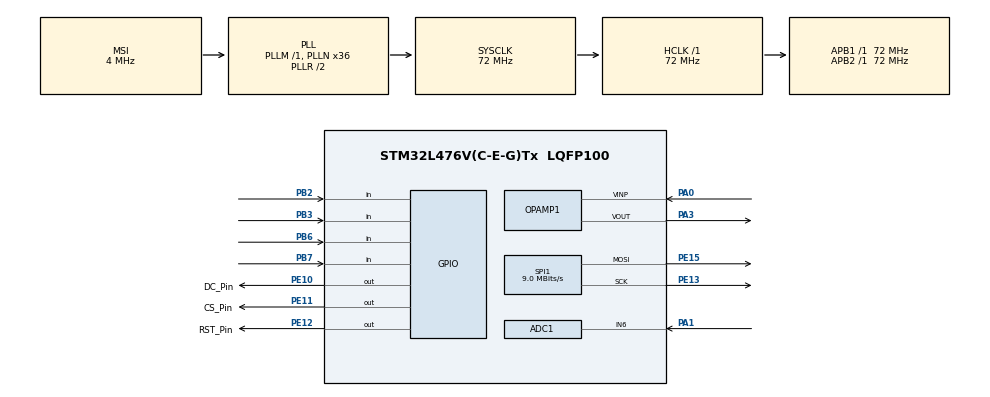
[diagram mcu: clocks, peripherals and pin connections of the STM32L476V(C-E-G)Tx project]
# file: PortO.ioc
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ADC1.Channel-5\#ChannelRegularConversion=ADC_CHANNEL_6
ADC1.ClockPrescaler=ADC_CLOCK_ASYNC_DIV8
ADC1.ContinuousConvMode=ENABLE
ADC1.EOCSelection=ADC_EOC_SEQ_CONV
ADC1.EnableRegularConversion=ENABLE
ADC1.NbrOfConversionFlag=1
ADC1.OffsetNumber-5\#ChannelRegularConversion=ADC_OFFSET_NONE
ADC1.Overrun=ADC_OVR_DATA_OVERWRITTEN
ADC1.Rank-5\#ChannelRegularConversion=1
ADC1.SamplingTime-5\#ChannelRegularConversion=ADC_SAMPLETIME_2CYCLES_5
ADC1.master=1
Mcu.Family=STM32L4
Mcu.Name=STM32L476V(C-E-G)Tx
Mcu.Package=LQFP100
NVIC.PriorityGroup=NVIC_PRIORITYGROUP_4
OPAMP1.PowerSupplyRange=OPAMP_POWERSUPPLY_HIGH
PA0.Mode=PGA Not Connected
PA0.Signal=OPAMP1_VINP
PA1.Signal=ADCx_IN6
PA3.Mode=PGA Not Connected
PA3.Signal=OPAMP1_VOUT
PB2.GPIO_PuPd=GPIO_PULLUP
PB2.Signal=GPIO_Input
PB3\ (JTDO-TRACESWO).GPIO_PuPd=GPIO_PULLUP
PB3\ (JTDO-TRACESWO).Signal=GPIO_Input
PB6.GPIO_PuPd=GPIO_PULLUP
PB6.Signal=GPIO_Input
PB7.GPIO_PuPd=GPIO_PULLUP
PB7.Signal=GPIO_Input
PE10.GPIO_Label=DC_Pin
PE10.Signal=GPIO_Output
PE11.GPIO_Label=CS_Pin
PE11.Signal=GPIO_Output
PE12.GPIO_Label=RST_Pin
PE12.Signal=GPIO_Output
PE13.Mode=TX_Only_Simplex_Unidirect_Master
PE13.Signal=SPI1_SCK
PE14.Signal=SPI1_MISO
PE15.Mode=TX_Only_Simplex_Unidirect_Master
PE15.Signal=SPI1_MOSI
PH0-OSC_IN\ (PH0).Mode=HSE-External-Oscillator
PH0-OSC_IN\ (PH0).Signal=RCC_OSC_IN
PH1-OSC_OUT\ (PH1).Mode=HSE-External-Oscillator
PH1-OSC_OUT\ (PH1).Signal=RCC_OSC_OUT
ProjectManager.HeapSize=0x200
ProjectManager.StackSize=0x400
ProjectManager.TargetToolchain=MDK-ARM V5.27
RCC.ADCFreq_Value=48000000
RCC.AHBFreq_Value=72000000
RCC.APB1Freq_Value=72000000
RCC.APB1TimFreq_Value=72000000
RCC.APB2Freq_Value=72000000
RCC.APB2TimFreq_Value=72000000
RCC.CortexFreq_Value=72000000
RCC.HCLKFreq_Value=72000000
RCC.HSE_VALUE=8000000
RCC.HSI_VALUE=16000000
RCC.LSE_VALUE=32768
RCC.MSI_VALUE=4000000
RCC.PLLN=36
RCC.PLLSAI1N=24
RCC.PREFETCH_ENABLE=1
RCC.SYSCLKFreq_VALUE=72000000
RCC.SYSCLKSource=RCC_SYSCLKSOURCE_PLLCLK
RCC.USBFreq_Value=48000000
RCC.VCOOutputFreq_Value=144000000
SH.ADCx_IN6.0=ADC1_IN6,IN6-Single-Ended
SPI1.BaudRatePrescaler=SPI_BAUDRATEPRESCALER_8
SPI1.CalculateBaudRate=9.0 MBits/s
SPI1.DataSize=SPI_DATASIZE_8BIT
SPI1.Direction=SPI_DIRECTION_2LINES
SPI1.Mode=SPI_MODE_MASTER
SPI1.VirtualType=VM_MASTER
board=STM32L476G-DISCO

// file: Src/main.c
/* USER CODE BEGIN Header */
/**
  ******************************************************************************
  * @file           : main.c
  * @brief          : Main program body
  ******************************************************************************
  * @attention
  *
  * <h2><center>&copy; Copyright (c) 2020 STMicroelectronics.
  * All rights reserved.</center></h2>
  *
  * This software component is licensed by ST under BSD 3-Clause license,
  * the "License"; You may not use this file except in compliance with the
  * License. You may obtain a copy of the License at:
  *                        opensource.org/licenses/BSD-3-Clause
  *
  ******************************************************************************
  */
/* USER CODE END Header */

#include "main.h"

/* USER CODE BEGIN Includes */
#include "LCD.h"
#include "SPI.h"
#include <string.h>
#include <stdlib.h>
#include <stdio.h>

/* USER CODE END Includes */

ADC_HandleTypeDef hadc1;

OPAMP_HandleTypeDef hopamp1;

SPI_HandleTypeDef hspi1;

void SystemClock_Config(void);
static void MX_GPIO_Init(void);
static void MX_SPI1_Init(void);
static void MX_ADC1_Init(void);
static void MX_OPAMP1_Init(void);

/* USER CODE BEGIN 0 */
static uint16_t sample[480];
int scale = 0;
int amp = 0;
/* USER CODE END 0 */

int main(void)
{

  /* MCU Configuration--------------------------------------------------------*/

  /* Reset of all peripherals, Initializes the Flash interface and the Systick. */
  HAL_Init();

  /* Configure the system clock */
  SystemClock_Config();

  /* Initialize all configured peripherals */
  MX_GPIO_Init();
  MX_SPI1_Init();
  MX_ADC1_Init();
  MX_OPAMP1_Init();
  /* USER CODE BEGIN 2 */
	HAL_Delay(1000);
	HAL_OPAMP_MspInit(&hopamp1);
	HAL_OPAMP_SelfCalibrate(&hopamp1);
	HAL_OPAMP_Start(&hopamp1);
	HAL_SPI_MspInit(&hspi1);
	HAL_ADC_Start(&hadc1);

	LCD_Init();
	LCD_Set_Rotation(1);

	LCD_Fill_Screen(BLACK);
	LCD_Draw_Grid();

  /* USER CODE END 2 */

  /* Infinite loop */
  /* USER CODE BEGIN WHILE */
  while (1)
  {
		//scale sets the x-axis scale
		if(HAL_GPIO_ReadPin(GPIOB,GPIO_PIN_7)==GPIO_PIN_RESET)
		{
			if(scale == 0)
			{
				scale=1;
			}
			else
			{
				scale = 0;
			}
			while(HAL_GPIO_ReadPin(GPIOB,GPIO_PIN_7)==GPIO_PIN_RESET)
			{
				__NOP();
			};
		}

		//amp sets the amplification
		if(HAL_GPIO_ReadPin(GPIOB,GPIO_PIN_6)==GPIO_PIN_RESET)
		{
			if(amp == 0)
			{
				amp=1;
			}
			else
			{
				amp = 0;
			}
			while(HAL_GPIO_ReadPin(GPIOB,GPIO_PIN_6)==GPIO_PIN_RESET)
			{
				__NOP();
			};
		}

		if(HAL_GPIO_ReadPin(GPIOB,GPIO_PIN_2)==GPIO_PIN_RESET)
		{
		//fill sample block
			LCD_Fill_Screen(BLACK);
			LCD_Draw_Grid();

			for(uint16_t x = 0;x<479;x++)
			{
				if (HAL_ADC_PollForConversion(&hadc1, 100000) == HAL_OK)
				{
					 sample[x] = HAL_ADC_GetValue(&hadc1)*390/4096;
				}
			}

			if(amp==1)
			{
				for(uint16_t x = 0;x<479;x++)
				{
					sample[x] = sample[x]*5;
				}
			}

			//draw new samples on tft
			if(scale==0)
			{
				for(int x =0;x<478;x++)
				{
						LCD_Line(YELLOW,x,x+1,sample[x],sample[x+1]);
				}
			}
			if(scale==1)
			{
				int y = 0;
				for(int x=0;x<478;x+=6)
				{
					LCD_Line(YELLOW,x,x+6,sample[y],sample[y+1]);
					y+=1;
				}
			}
			while(HAL_GPIO_ReadPin(GPIOB,GPIO_PIN_2)==GPIO_PIN_RESET)
			{
				__NOP();
			};

		}

		//Display measurements screen when button pressed
		if(HAL_GPIO_ReadPin(GPIOB,GPIO_PIN_3)==GPIO_PIN_RESET)
		{
			LCD_Display_Measurements(sample,amp);
			uint16_t adcVal = 0;
				if (HAL_ADC_PollForConversion(&hadc1, 100000) == HAL_OK)
				{
					adcVal = HAL_ADC_GetValue(&hadc1);
				}
			char buf[6];
			LCD_Draw_String(0,220,GREEN,BLACK,"ADC 0x",2);
			snprintf(buf,5,"%u",adcVal);
			LCD_Draw_String(50,220,GREEN,BLACK,buf,2);
			while(HAL_GPIO_ReadPin(GPIOB,GPIO_PIN_3)==GPIO_PIN_RESET)
			{
				__NOP();
			};
		}

    /* USER CODE END WHILE */

  }
}

void SystemClock_Config(void)
{
  RCC_OscInitTypeDef RCC_OscInitStruct = {0};
  RCC_ClkInitTypeDef RCC_ClkInitStruct = {0};
  RCC_PeriphCLKInitTypeDef PeriphClkInit = {0};

  /** Initializes the CPU, AHB and APB busses clocks
  */
  RCC_OscInitStruct.OscillatorType = RCC_OSCILLATORTYPE_MSI;
  RCC_OscInitStruct.MSIState = RCC_MSI_ON;
  RCC_OscInitStruct.MSICalibrationValue = 0;
  RCC_OscInitStruct.MSIClockRange = RCC_MSIRANGE_6;
  RCC_OscInitStruct.PLL.PLLState = RCC_PLL_ON;
  RCC_OscInitStruct.PLL.PLLSource = RCC_PLLSOURCE_MSI;
  RCC_OscInitStruct.PLL.PLLM = 1;
  RCC_OscInitStruct.PLL.PLLN = 36;
  RCC_OscInitStruct.PLL.PLLP = RCC_PLLP_DIV7;
  RCC_OscInitStruct.PLL.PLLQ = RCC_PLLQ_DIV2;
  RCC_OscInitStruct.PLL.PLLR = RCC_PLLR_DIV2;
  if (HAL_RCC_OscConfig(&RCC_OscInitStruct) != HAL_OK)
  {
    Error_Handler();
  }
  /** Initializes the CPU, AHB and APB busses clocks
  */
  RCC_ClkInitStruct.ClockType = RCC_CLOCKTYPE_HCLK|RCC_CLOCKTYPE_SYSCLK
                              |RCC_CLOCKTYPE_PCLK1|RCC_CLOCKTYPE_PCLK2;
  RCC_ClkInitStruct.SYSCLKSource = RCC_SYSCLKSOURCE_PLLCLK;
  RCC_ClkInitStruct.AHBCLKDivider = RCC_SYSCLK_DIV1;
  RCC_ClkInitStruct.APB1CLKDivider = RCC_HCLK_DIV1;
  RCC_ClkInitStruct.APB2CLKDivider = RCC_HCLK_DIV1;

  if (HAL_RCC_ClockConfig(&RCC_ClkInitStruct, FLASH_LATENCY_4) != HAL_OK)
  {
    Error_Handler();
  }
  PeriphClkInit.PeriphClockSelection = RCC_PERIPHCLK_ADC;
  PeriphClkInit.AdcClockSelection = RCC_ADCCLKSOURCE_PLLSAI1;
  PeriphClkInit.PLLSAI1.PLLSAI1Source = RCC_PLLSOURCE_MSI;
  PeriphClkInit.PLLSAI1.PLLSAI1M = 1;
  PeriphClkInit.PLLSAI1.PLLSAI1N = 24;
  PeriphClkInit.PLLSAI1.PLLSAI1P = RCC_PLLP_DIV7;
  PeriphClkInit.PLLSAI1.PLLSAI1Q = RCC_PLLQ_DIV2;
  PeriphClkInit.PLLSAI1.PLLSAI1R = RCC_PLLR_DIV2;
  PeriphClkInit.PLLSAI1.PLLSAI1ClockOut = RCC_PLLSAI1_ADC1CLK;
  if (HAL_RCCEx_PeriphCLKConfig(&PeriphClkInit) != HAL_OK)
  {
    Error_Handler();
  }
  /** Configure the main internal regulator output voltage
  */
  if (HAL_PWREx_ControlVoltageScaling(PWR_REGULATOR_VOLTAGE_SCALE1) != HAL_OK)
  {
    Error_Handler();
  }
}

static void MX_ADC1_Init(void)
{

  ADC_MultiModeTypeDef multimode = {0};
  ADC_ChannelConfTypeDef sConfig = {0};

  /** Common config
  */
  hadc1.Instance = ADC1;
  hadc1.Init.ClockPrescaler = ADC_CLOCK_ASYNC_DIV8;
  hadc1.Init.Resolution = ADC_RESOLUTION_12B;
  hadc1.Init.DataAlign = ADC_DATAALIGN_RIGHT;
  hadc1.Init.ScanConvMode = ADC_SCAN_DISABLE;
  hadc1.Init.EOCSelection = ADC_EOC_SEQ_CONV;
  hadc1.Init.LowPowerAutoWait = DISABLE;
  hadc1.Init.ContinuousConvMode = ENABLE;
  hadc1.Init.NbrOfConversion = 1;
  hadc1.Init.DiscontinuousConvMode = DISABLE;
  hadc1.Init.NbrOfDiscConversion = 1;
  hadc1.Init.ExternalTrigConv = ADC_SOFTWARE_START;
  hadc1.Init.ExternalTrigConvEdge = ADC_EXTERNALTRIGCONVEDGE_NONE;
  hadc1.Init.DMAContinuousRequests = DISABLE;
  hadc1.Init.Overrun = ADC_OVR_DATA_OVERWRITTEN;
  hadc1.Init.OversamplingMode = DISABLE;
  if (HAL_ADC_Init(&hadc1) != HAL_OK)
  {
    Error_Handler();
  }
  /** Configure the ADC multi-mode
  */
  multimode.Mode = ADC_MODE_INDEPENDENT;
  if (HAL_ADCEx_MultiModeConfigChannel(&hadc1, &multimode) != HAL_OK)
  {
    Error_Handler();
  }
  /** Configure Regular Channel
  */
  sConfig.Channel = ADC_CHANNEL_6;
  sConfig.Rank = ADC_REGULAR_RANK_1;
  sConfig.SamplingTime = ADC_SAMPLETIME_2CYCLES_5;
  sConfig.SingleDiff = ADC_SINGLE_ENDED;
  sConfig.OffsetNumber = ADC_OFFSET_NONE;
  sConfig.Offset = 0;
  if (HAL_ADC_ConfigChannel(&hadc1, &sConfig) != HAL_OK)
  {
    Error_Handler();
  }

}

static void MX_OPAMP1_Init(void)
{

  hopamp1.Instance = OPAMP1;
  hopamp1.Init.PowerSupplyRange = OPAMP_POWERSUPPLY_HIGH;
  hopamp1.Init.Mode = OPAMP_PGA_MODE;
  hopamp1.Init.NonInvertingInput = OPAMP_NONINVERTINGINPUT_IO0;
  hopamp1.Init.InvertingInput = OPAMP_INVERTINGINPUT_CONNECT_NO;
  hopamp1.Init.PgaGain = OPAMP_PGA_GAIN_2;
  hopamp1.Init.PowerMode = OPAMP_POWERMODE_NORMAL;
  hopamp1.Init.UserTrimming = OPAMP_TRIMMING_FACTORY;
  if (HAL_OPAMP_Init(&hopamp1) != HAL_OK)
  {
    Error_Handler();
  }

}

static void MX_SPI1_Init(void)
{

  /* USER CODE BEGIN SPI1_Init 0 */
	__HAL_RCC_SPI1_CLK_ENABLE();
  /* USER CODE END SPI1_Init 0 */

  /* SPI1 parameter configuration*/
  hspi1.Instance = SPI1;
  hspi1.Init.Mode = SPI_MODE_MASTER;
  hspi1.Init.Direction = SPI_DIRECTION_2LINES;
  hspi1.Init.DataSize = SPI_DATASIZE_8BIT;
  hspi1.Init.CLKPolarity = SPI_POLARITY_LOW;
  hspi1.Init.CLKPhase = SPI_PHASE_1EDGE;
  hspi1.Init.NSS = SPI_NSS_SOFT;
  hspi1.Init.BaudRatePrescaler = SPI_BAUDRATEPRESCALER_8;
  hspi1.Init.FirstBit = SPI_FIRSTBIT_MSB;
  hspi1.Init.TIMode = SPI_TIMODE_DISABLE;
  hspi1.Init.CRCCalculation = SPI_CRCCALCULATION_DISABLE;
  hspi1.Init.CRCPolynomial = 7;
  hspi1.Init.CRCLength = SPI_CRC_LENGTH_DATASIZE;
  hspi1.Init.NSSPMode = SPI_NSS_PULSE_ENABLE;
  if (HAL_SPI_Init(&hspi1) != HAL_OK)
  {
    Error_Handler();
  }

}

static void MX_GPIO_Init(void)
{
  GPIO_InitTypeDef GPIO_InitStruct = {0};

  /* GPIO Ports Clock Enable */
  __HAL_RCC_GPIOH_CLK_ENABLE();
  __HAL_RCC_GPIOA_CLK_ENABLE();
  __HAL_RCC_GPIOB_CLK_ENABLE();
  __HAL_RCC_GPIOE_CLK_ENABLE();

  /*Configure GPIO pin Output Level */
  HAL_GPIO_WritePin(GPIOE, DC_Pin_Pin|CS_Pin_Pin|RST_Pin_Pin, GPIO_PIN_RESET);

  /*Configure GPIO pins : PB2 PB3 PB6 PB7 */
  GPIO_InitStruct.Pin = GPIO_PIN_2|GPIO_PIN_3|GPIO_PIN_6|GPIO_PIN_7;
  GPIO_InitStruct.Mode = GPIO_MODE_INPUT;
  GPIO_InitStruct.Pull = GPIO_PULLUP;
  HAL_GPIO_Init(GPIOB, &GPIO_InitStruct);

  /*Configure GPIO pins : DC_Pin_Pin CS_Pin_Pin RST_Pin_Pin */
  GPIO_InitStruct.Pin = DC_Pin_Pin|CS_Pin_Pin|RST_Pin_Pin;
  GPIO_InitStruct.Mode = GPIO_MODE_OUTPUT_PP;
  GPIO_InitStruct.Pull = GPIO_NOPULL;
  GPIO_InitStruct.Speed = GPIO_SPEED_FREQ_LOW;
  HAL_GPIO_Init(GPIOE, &GPIO_InitStruct);

}

void Error_Handler(void)
{
}

/************************ (C) COPYRIGHT STMicroelectronics *****END OF FILE****/
